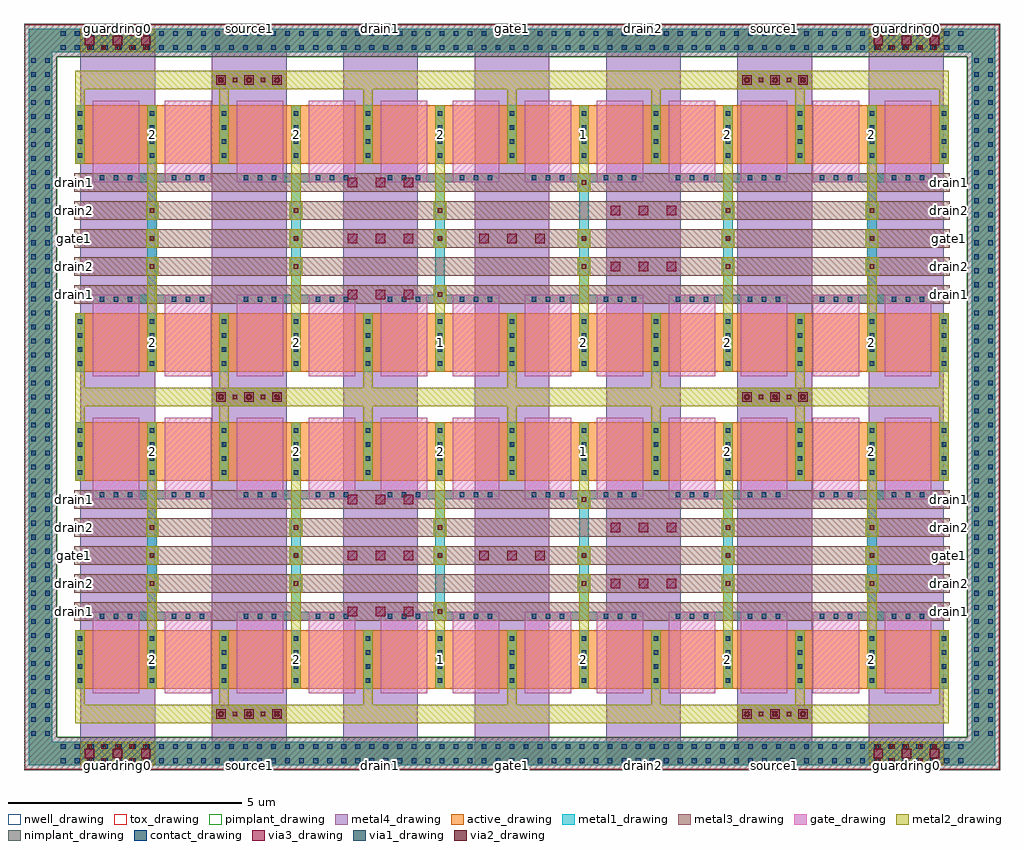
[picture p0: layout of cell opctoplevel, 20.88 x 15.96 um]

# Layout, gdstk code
import gdstk
lib = gdstk.Library(unit=1e-6, precision=1e-09)
def R(c, l, rs):  # rectangles x0, y0, x1, y1
    for r in rs: c.add(gdstk.rectangle(r[:2], r[2:], *l))
def A(c, l, x, y, w, h, nx, ny, dx, dy):  # array of equal rectangles
    R(c, l, [(x+i*dx, y+j*dy, x+i*dx+w, y+j*dy+h) for i in range(nx) for j in range(ny)])
active_drawing = (1, 0)
nwell_drawing = (3, 0)
pimplant_drawing = (4, 0)
nimplant_drawing = (5, 0)
gate_drawing = (6, 0)
contact_drawing = (7, 0)
metal1_drawing = (8, 0)
via1_drawing = (9, 0)
metal2_drawing = (10, 0)
via2_drawing = (11, 0)
metal3_drawing = (12, 0)
via3_drawing = (13, 0)
metal4_drawing = (14, 0)
tox_drawing = (32, 0)

opctoplevel = lib.new_cell('opctoplevel')
A(opctoplevel, active_drawing, -0.37, 0, 3.28, 1.25, 6, 2, 3.08, 4.45)
A(opctoplevel, active_drawing, -0.37, 6.78, 3.28, 1.25, 6, 2, 3.08, 4.45)
R(opctoplevel, active_drawing, [(-1.37,-1.64,19.31,-1.14), (-1.37,-1.64,-0.87,14.12), (18.81,-1.64,19.31,14.12), (-1.37,13.62,19.31,14.12)])
R(opctoplevel, nwell_drawing, [(-1.47,-1.74,19.41,14.22)])
R(opctoplevel, pimplant_drawing, [(-0.77,-1.04,18.71,13.52)])
R(opctoplevel, nimplant_drawing, [(-1.47,-1.74,19.41,-1.04), (-1.47,-1.74,-0.77,14.22), (18.71,-1.74,19.41,14.22), (-1.47,13.52,19.41,14.22)])
A(opctoplevel, gate_drawing, 0, -0.1, 1, 1.75, 12, 2, 1.54, 4.15)
A(opctoplevel, gate_drawing, 0, 6.68, 1, 1.75, 12, 2, 1.54, 4.15)
A(opctoplevel, contact_drawing, -0.68, -1.59, 0.1, 0.1, 65, 2, 0.3, 0.3)
A(opctoplevel, contact_drawing, -1.32, -1.01, 0.1, 0.1, 1, 49, 0, 0.3)
A(opctoplevel, contact_drawing, -1.02, -1.01, 0.1, 0.1, 1, 49, 0, 0.3)
A(opctoplevel, contact_drawing, 18.86, -1.01, 0.1, 0.1, 1, 49, 0, 0.3)
A(opctoplevel, contact_drawing, 19.16, -1.01, 0.1, 0.1, 1, 49, 0, 0.3)
A(opctoplevel, contact_drawing, -0.32, 0.125, 0.1, 0.1, 3, 4, 1.54, 0.3)
A(opctoplevel, contact_drawing, 2.76, 0.125, 0.1, 0.1, 3, 4, 1.54, 0.3)
A(opctoplevel, contact_drawing, 5.84, 0.125, 0.1, 0.1, 3, 4, 1.54, 0.3)
A(opctoplevel, contact_drawing, 8.92, 0.125, 0.1, 0.1, 3, 4, 1.54, 0.3)
A(opctoplevel, contact_drawing, 12, 0.125, 0.1, 0.1, 3, 4, 1.54, 0.3)
A(opctoplevel, contact_drawing, 15.08, 0.125, 0.1, 0.1, 3, 4, 1.54, 0.3)
A(opctoplevel, contact_drawing, 0.15, 1.5, 0.1, 0.1, 3, 2, 0.3, 2.6)
A(opctoplevel, contact_drawing, 1.69, 1.5, 0.1, 0.1, 3, 2, 0.3, 2.6)
A(opctoplevel, contact_drawing, 3.23, 1.5, 0.1, 0.1, 3, 2, 0.3, 2.6)
A(opctoplevel, contact_drawing, 4.77, 1.5, 0.1, 0.1, 3, 2, 0.3, 2.6)
A(opctoplevel, contact_drawing, 6.31, 1.5, 0.1, 0.1, 3, 2, 0.3, 2.6)
A(opctoplevel, contact_drawing, 7.85, 1.5, 0.1, 0.1, 3, 2, 0.3, 2.6)
A(opctoplevel, contact_drawing, 9.39, 1.5, 0.1, 0.1, 3, 2, 0.3, 2.6)
A(opctoplevel, contact_drawing, 10.93, 1.5, 0.1, 0.1, 3, 2, 0.3, 2.6)
A(opctoplevel, contact_drawing, 12.47, 1.5, 0.1, 0.1, 3, 2, 0.3, 2.6)
A(opctoplevel, contact_drawing, 14.01, 1.5, 0.1, 0.1, 3, 2, 0.3, 2.6)
A(opctoplevel, contact_drawing, 15.55, 1.5, 0.1, 0.1, 3, 2, 0.3, 2.6)
A(opctoplevel, contact_drawing, 17.09, 1.5, 0.1, 0.1, 3, 2, 0.3, 2.6)
A(opctoplevel, contact_drawing, -0.32, 4.575, 0.1, 0.1, 3, 4, 1.54, 0.3)
A(opctoplevel, contact_drawing, 2.76, 4.575, 0.1, 0.1, 3, 4, 1.54, 0.3)
A(opctoplevel, contact_drawing, 5.84, 4.575, 0.1, 0.1, 3, 4, 1.54, 0.3)
A(opctoplevel, contact_drawing, 8.92, 4.575, 0.1, 0.1, 3, 4, 1.54, 0.3)
A(opctoplevel, contact_drawing, 12, 4.575, 0.1, 0.1, 3, 4, 1.54, 0.3)
A(opctoplevel, contact_drawing, 15.08, 4.575, 0.1, 0.1, 3, 4, 1.54, 0.3)
A(opctoplevel, contact_drawing, -0.32, 6.905, 0.1, 0.1, 3, 4, 1.54, 0.3)
A(opctoplevel, contact_drawing, 2.76, 6.905, 0.1, 0.1, 3, 4, 1.54, 0.3)
A(opctoplevel, contact_drawing, 5.84, 6.905, 0.1, 0.1, 3, 4, 1.54, 0.3)
A(opctoplevel, contact_drawing, 8.92, 6.905, 0.1, 0.1, 3, 4, 1.54, 0.3)
A(opctoplevel, contact_drawing, 12, 6.905, 0.1, 0.1, 3, 4, 1.54, 0.3)
A(opctoplevel, contact_drawing, 15.08, 6.905, 0.1, 0.1, 3, 4, 1.54, 0.3)
A(opctoplevel, contact_drawing, 0.15, 8.28, 0.1, 0.1, 3, 2, 0.3, 2.6)
A(opctoplevel, contact_drawing, 1.69, 8.28, 0.1, 0.1, 3, 2, 0.3, 2.6)
A(opctoplevel, contact_drawing, 3.23, 8.28, 0.1, 0.1, 3, 2, 0.3, 2.6)
A(opctoplevel, contact_drawing, 4.77, 8.28, 0.1, 0.1, 3, 2, 0.3, 2.6)
A(opctoplevel, contact_drawing, 6.31, 8.28, 0.1, 0.1, 3, 2, 0.3, 2.6)
A(opctoplevel, contact_drawing, 7.85, 8.28, 0.1, 0.1, 3, 2, 0.3, 2.6)
A(opctoplevel, contact_drawing, 9.39, 8.28, 0.1, 0.1, 3, 2, 0.3, 2.6)
A(opctoplevel, contact_drawing, 10.93, 8.28, 0.1, 0.1, 3, 2, 0.3, 2.6)
A(opctoplevel, contact_drawing, 12.47, 8.28, 0.1, 0.1, 3, 2, 0.3, 2.6)
A(opctoplevel, contact_drawing, 14.01, 8.28, 0.1, 0.1, 3, 2, 0.3, 2.6)
A(opctoplevel, contact_drawing, 15.55, 8.28, 0.1, 0.1, 3, 2, 0.3, 2.6)
A(opctoplevel, contact_drawing, 17.09, 8.28, 0.1, 0.1, 3, 2, 0.3, 2.6)
A(opctoplevel, contact_drawing, -0.32, 11.355, 0.1, 0.1, 3, 4, 1.54, 0.3)
A(opctoplevel, contact_drawing, 2.76, 11.355, 0.1, 0.1, 3, 4, 1.54, 0.3)
A(opctoplevel, contact_drawing, 5.84, 11.355, 0.1, 0.1, 3, 4, 1.54, 0.3)
A(opctoplevel, contact_drawing, 8.92, 11.355, 0.1, 0.1, 3, 4, 1.54, 0.3)
A(opctoplevel, contact_drawing, 12, 11.355, 0.1, 0.1, 3, 4, 1.54, 0.3)
A(opctoplevel, contact_drawing, 15.08, 11.355, 0.1, 0.1, 3, 4, 1.54, 0.3)
A(opctoplevel, contact_drawing, -0.68, 13.67, 0.1, 0.1, 65, 2, 0.3, 0.3)
A(opctoplevel, metal1_drawing, -0.37, 0, 0.2, 1.25, 3, 2, 1.54, 4.45)
A(opctoplevel, metal1_drawing, 2.71, 0, 0.2, 1.25, 3, 2, 1.54, 4.45)
A(opctoplevel, metal1_drawing, 5.79, 0, 0.2, 1.25, 3, 2, 1.54, 4.45)
A(opctoplevel, metal1_drawing, 8.87, 0, 0.2, 1.25, 3, 2, 1.54, 4.45)
A(opctoplevel, metal1_drawing, 11.95, 0, 0.2, 1.25, 3, 2, 1.54, 4.45)
A(opctoplevel, metal1_drawing, 15.03, 0, 0.2, 1.25, 3, 2, 1.54, 4.45)
A(opctoplevel, metal1_drawing, 1.17, 1.65, 0.2, 1, 6, 2, 3.08, 1.4)
A(opctoplevel, metal1_drawing, -0.37, 6.78, 0.2, 1.25, 3, 2, 1.54, 4.45)
A(opctoplevel, metal1_drawing, 2.71, 6.78, 0.2, 1.25, 3, 2, 1.54, 4.45)
A(opctoplevel, metal1_drawing, 5.79, 6.78, 0.2, 1.25, 3, 2, 1.54, 4.45)
A(opctoplevel, metal1_drawing, 8.87, 6.78, 0.2, 1.25, 3, 2, 1.54, 4.45)
A(opctoplevel, metal1_drawing, 11.95, 6.78, 0.2, 1.25, 3, 2, 1.54, 4.45)
A(opctoplevel, metal1_drawing, 15.03, 6.78, 0.2, 1.25, 3, 2, 1.54, 4.45)
A(opctoplevel, metal1_drawing, 1.17, 8.43, 0.2, 1, 6, 2, 3.08, 1.4)
R(opctoplevel, metal1_drawing, [(-1.37,-1.64,19.31,-1.14), (-1.37,-1.64,-0.87,14.12), (-0.266,-1.64,1.334,-1.14), (16.606,-1.64,18.206,-1.14), (18.81,-1.64,19.31,14.12), (0,1.45,2.54,1.65), (0,1.45,2.54,1.65), (3.08,1.45,5.62,1.65), (3.08,1.45,5.62,1.65), (6.16,1.45,8.7,1.65), (6.16,1.45,8.7,1.65), (9.24,1.45,11.78,1.65), (9.24,1.45,11.78,1.65), (12.32,1.45,14.86,1.65), (12.32,1.45,14.86,1.65), (15.4,1.45,17.94,1.65), (15.4,1.45,17.94,1.65), (1.14,2.65,1.4,3.05), (1.14,2.65,1.4,3.05), (4.22,2.65,4.48,3.05), (4.22,2.65,4.48,3.05), (7.3,2.65,7.56,3.05), (7.3,2.65,7.56,3.05), (10.38,2.65,10.64,3.05), (10.38,2.65,10.64,3.05), (13.46,2.65,13.72,3.05), (13.46,2.65,13.72,3.05), (16.54,2.65,16.8,3.05), (16.54,2.65,16.8,3.05), (0,4.05,2.54,4.25), (0,4.05,2.54,4.25), (3.08,4.05,5.62,4.25), (3.08,4.05,5.62,4.25), (6.16,4.05,8.7,4.25), (6.16,4.05,8.7,4.25), (9.24,4.05,11.78,4.25), (9.24,4.05,11.78,4.25), (12.32,4.05,14.86,4.25), (12.32,4.05,14.86,4.25), (15.4,4.05,17.94,4.25), (15.4,4.05,17.94,4.25), (0,8.23,2.54,8.43), (0,8.23,2.54,8.43), (3.08,8.23,5.62,8.43), (3.08,8.23,5.62,8.43), (6.16,8.23,8.7,8.43), (6.16,8.23,8.7,8.43), (9.24,8.23,11.78,8.43), (9.24,8.23,11.78,8.43), (12.32,8.23,14.86,8.43), (12.32,8.23,14.86,8.43), (15.4,8.23,17.94,8.43), (15.4,8.23,17.94,8.43), (1.14,9.43,1.4,9.83), (1.14,9.43,1.4,9.83), (4.22,9.43,4.48,9.83), (4.22,9.43,4.48,9.83), (7.3,9.43,7.56,9.83), (7.3,9.43,7.56,9.83), (10.38,9.43,10.64,9.83), (10.38,9.43,10.64,9.83), (13.46,9.43,13.72,9.83), (13.46,9.43,13.72,9.83), (16.54,9.43,16.8,9.83), (16.54,9.43,16.8,9.83), (0,10.83,2.54,11.03), (0,10.83,2.54,11.03), (3.08,10.83,5.62,11.03), (3.08,10.83,5.62,11.03), (6.16,10.83,8.7,11.03), (6.16,10.83,8.7,11.03), (9.24,10.83,11.78,11.03), (9.24,10.83,11.78,11.03), (12.32,10.83,14.86,11.03), (12.32,10.83,14.86,11.03), (15.4,10.83,17.94,11.03), (15.4,10.83,17.94,11.03), (-1.37,13.62,19.31,14.12), (-0.266,13.62,1.334,14.12), (16.606,13.62,18.206,14.12)])
A(opctoplevel, via1_drawing, -0.116, -1.59, 0.1, 0.1, 5, 2, 0.3, 0.3)
A(opctoplevel, via1_drawing, 16.756, -1.59, 0.1, 0.1, 5, 2, 0.3, 0.3)
A(opctoplevel, via1_drawing, -0.32, 0.125, 0.1, 0.1, 3, 4, 1.54, 0.3)
A(opctoplevel, via1_drawing, 2.76, 0.125, 0.1, 0.1, 3, 4, 1.54, 0.3)
A(opctoplevel, via1_drawing, 5.84, 0.125, 0.1, 0.1, 3, 4, 1.54, 0.3)
A(opctoplevel, via1_drawing, 8.92, 0.125, 0.1, 0.1, 3, 4, 1.54, 0.3)
A(opctoplevel, via1_drawing, 12, 0.125, 0.1, 0.1, 3, 4, 1.54, 0.3)
A(opctoplevel, via1_drawing, 15.08, 0.125, 0.1, 0.1, 3, 4, 1.54, 0.3)
A(opctoplevel, via1_drawing, -0.32, 4.575, 0.1, 0.1, 3, 4, 1.54, 0.3)
A(opctoplevel, via1_drawing, 2.76, 4.575, 0.1, 0.1, 3, 4, 1.54, 0.3)
A(opctoplevel, via1_drawing, 5.84, 4.575, 0.1, 0.1, 3, 4, 1.54, 0.3)
A(opctoplevel, via1_drawing, 8.92, 4.575, 0.1, 0.1, 3, 4, 1.54, 0.3)
A(opctoplevel, via1_drawing, 12, 4.575, 0.1, 0.1, 3, 4, 1.54, 0.3)
A(opctoplevel, via1_drawing, 15.08, 4.575, 0.1, 0.1, 3, 4, 1.54, 0.3)
A(opctoplevel, via1_drawing, -0.32, 6.905, 0.1, 0.1, 3, 4, 1.54, 0.3)
A(opctoplevel, via1_drawing, 2.76, 6.905, 0.1, 0.1, 3, 4, 1.54, 0.3)
A(opctoplevel, via1_drawing, 5.84, 6.905, 0.1, 0.1, 3, 4, 1.54, 0.3)
A(opctoplevel, via1_drawing, 8.92, 6.905, 0.1, 0.1, 3, 4, 1.54, 0.3)
A(opctoplevel, via1_drawing, 12, 6.905, 0.1, 0.1, 3, 4, 1.54, 0.3)
A(opctoplevel, via1_drawing, 15.08, 6.905, 0.1, 0.1, 3, 4, 1.54, 0.3)
A(opctoplevel, via1_drawing, -0.32, 11.355, 0.1, 0.1, 3, 4, 1.54, 0.3)
A(opctoplevel, via1_drawing, 2.76, 11.355, 0.1, 0.1, 3, 4, 1.54, 0.3)
A(opctoplevel, via1_drawing, 5.84, 11.355, 0.1, 0.1, 3, 4, 1.54, 0.3)
A(opctoplevel, via1_drawing, 8.92, 11.355, 0.1, 0.1, 3, 4, 1.54, 0.3)
A(opctoplevel, via1_drawing, 12, 11.355, 0.1, 0.1, 3, 4, 1.54, 0.3)
A(opctoplevel, via1_drawing, 15.08, 11.355, 0.1, 0.1, 3, 4, 1.54, 0.3)
A(opctoplevel, via1_drawing, -0.116, 13.67, 0.1, 0.1, 5, 2, 0.3, 0.3)
A(opctoplevel, via1_drawing, 16.756, 13.67, 0.1, 0.1, 5, 2, 0.3, 0.3)
R(opctoplevel, via1_drawing, [(1.22,2.8,1.32,2.9), (1.22,2.8,1.32,2.9), (4.3,2.8,4.4,2.9), (4.3,2.8,4.4,2.9), (7.38,2.8,7.48,2.9), (7.38,2.8,7.48,2.9), (10.46,2.8,10.56,2.9), (10.46,2.8,10.56,2.9), (13.54,2.8,13.64,2.9), (13.54,2.8,13.64,2.9), (16.62,2.8,16.72,2.9), (16.62,2.8,16.72,2.9), (1.22,9.58,1.32,9.68), (1.22,9.58,1.32,9.68), (4.3,9.58,4.4,9.68), (4.3,9.58,4.4,9.68), (7.38,9.58,7.48,9.68), (7.38,9.58,7.48,9.68), (10.46,9.58,10.56,9.68), (10.46,9.58,10.56,9.68), (13.54,9.58,13.64,9.68), (13.54,9.58,13.64,9.68), (16.62,9.58,16.72,9.68), (16.62,9.58,16.72,9.68)])
A(opctoplevel, metal2_drawing, -0.37, -0.74, 3.28, 0.4, 6, 2, 3.08, 13.56)
A(opctoplevel, metal2_drawing, -0.37, 0, 0.2, 1.25, 3, 2, 1.54, 4.45)
A(opctoplevel, metal2_drawing, 2.71, 0, 0.2, 1.25, 3, 2, 1.54, 4.45)
A(opctoplevel, metal2_drawing, 5.79, 0, 0.2, 1.25, 3, 2, 1.54, 4.45)
A(opctoplevel, metal2_drawing, 8.87, 0, 0.2, 1.25, 3, 2, 1.54, 4.45)
A(opctoplevel, metal2_drawing, 11.95, 0, 0.2, 1.25, 3, 2, 1.54, 4.45)
A(opctoplevel, metal2_drawing, 15.03, 0, 0.2, 1.25, 3, 2, 1.54, 4.45)
A(opctoplevel, metal2_drawing, 10.41, 1.25, 0.2, 1.2, 3, 2, 3.08, 6.78)
A(opctoplevel, metal2_drawing, 10.38, 2.05, 0.26, 0.4, 3, 2, 3.08, 6.78)
A(opctoplevel, metal2_drawing, 1.14, 3.25, 0.26, 0.4, 3, 2, 3.08, 6.78)
A(opctoplevel, metal2_drawing, 1.17, 3.25, 0.2, 1.2, 3, 2, 3.08, 6.78)
A(opctoplevel, metal2_drawing, -0.37, 6.78, 0.2, 1.25, 3, 2, 1.54, 4.45)
A(opctoplevel, metal2_drawing, 2.71, 6.78, 0.2, 1.25, 3, 2, 1.54, 4.45)
A(opctoplevel, metal2_drawing, 5.79, 6.78, 0.2, 1.25, 3, 2, 1.54, 4.45)
A(opctoplevel, metal2_drawing, 8.87, 6.78, 0.2, 1.25, 3, 2, 1.54, 4.45)
A(opctoplevel, metal2_drawing, 11.95, 6.78, 0.2, 1.25, 3, 2, 1.54, 4.45)
A(opctoplevel, metal2_drawing, 15.03, 6.78, 0.2, 1.25, 3, 2, 1.54, 4.45)
R(opctoplevel, metal2_drawing, [(-0.266,-1.64,1.334,-1.14), (16.606,-1.64,18.206,-1.14), (2.546,-0.74,4.146,-0.34), (13.794,-0.74,15.394,-0.34), (-0.37,-0.34,-0.17,0), (2.71,-0.34,2.91,0), (2.71,-0.34,2.91,0), (5.79,-0.34,5.99,0), (5.79,-0.34,5.99,0), (8.87,-0.34,9.07,0), (8.87,-0.34,9.07,0), (11.95,-0.34,12.15,0), (11.95,-0.34,12.15,0), (15.03,-0.34,15.23,0), (15.03,-0.34,15.23,0), (18.11,-0.34,18.31,0), (1.17,1.25,1.37,2.45), (4.25,1.25,4.45,2.45), (7.33,1.25,7.53,1.85), (7.3,1.45,7.56,1.85), (1.14,2.05,1.4,2.45), (4.22,2.05,4.48,2.45), (1.14,2.65,1.4,3.05), (1.14,2.65,1.4,3.05), (4.22,2.65,4.48,3.05), (4.22,2.65,4.48,3.05), (7.3,2.65,7.56,3.05), (7.3,2.65,7.56,3.05), (10.38,2.65,10.64,3.05), (10.38,2.65,10.64,3.05), (13.46,2.65,13.72,3.05), (13.46,2.65,13.72,3.05), (16.54,2.65,16.8,3.05), (16.54,2.65,16.8,3.05), (13.46,3.25,13.72,3.65), (13.49,3.25,13.69,4.45), (16.54,3.25,16.8,3.65), (16.57,3.25,16.77,4.45), (10.38,3.85,10.64,4.25), (10.41,3.85,10.61,4.45), (-0.37,5.7,-0.17,6.04), (2.71,5.7,2.91,6.04), (2.71,5.7,2.91,6.04), (5.79,5.7,5.99,6.04), (5.79,5.7,5.99,6.04), (8.87,5.7,9.07,6.04), (8.87,5.7,9.07,6.04), (11.95,5.7,12.15,6.04), (11.95,5.7,12.15,6.04), (15.03,5.7,15.23,6.04), (15.03,5.7,15.23,6.04), (18.11,5.7,18.31,6.04), (-0.37,6.04,2.91,6.44), (-0.37,6.04,2.91,6.44), (2.546,6.04,4.146,6.44), (2.546,6.04,4.146,6.44), (2.71,6.04,5.99,6.44), (2.71,6.04,5.99,6.44), (5.79,6.04,9.07,6.44), (5.79,6.04,9.07,6.44), (8.87,6.04,12.15,6.44), (8.87,6.04,12.15,6.44), (11.95,6.04,15.23,6.44), (11.95,6.04,15.23,6.44), (13.794,6.04,15.394,6.44), (13.794,6.04,15.394,6.44), (15.03,6.04,18.31,6.44), (15.03,6.04,18.31,6.44), (-0.37,6.44,-0.17,6.78), (2.71,6.44,2.91,6.78), (2.71,6.44,2.91,6.78), (5.79,6.44,5.99,6.78), (5.79,6.44,5.99,6.78), (8.87,6.44,9.07,6.78), (8.87,6.44,9.07,6.78), (11.95,6.44,12.15,6.78), (11.95,6.44,12.15,6.78), (15.03,6.44,15.23,6.78), (15.03,6.44,15.23,6.78), (18.11,6.44,18.31,6.78), (1.17,8.03,1.37,9.23), (4.25,8.03,4.45,9.23), (7.33,8.03,7.53,8.63), (7.3,8.23,7.56,8.63), (1.14,8.83,1.4,9.23), (4.22,8.83,4.48,9.23), (1.14,9.43,1.4,9.83), (1.14,9.43,1.4,9.83), (4.22,9.43,4.48,9.83), (4.22,9.43,4.48,9.83), (7.3,9.43,7.56,9.83), (7.3,9.43,7.56,9.83), (10.38,9.43,10.64,9.83), (10.38,9.43,10.64,9.83), (13.46,9.43,13.72,9.83), (13.46,9.43,13.72,9.83), (16.54,9.43,16.8,9.83), (16.54,9.43,16.8,9.83), (13.46,10.03,13.72,10.43), (13.49,10.03,13.69,11.23), (16.54,10.03,16.8,10.43), (16.57,10.03,16.77,11.23), (10.38,10.63,10.64,11.03), (10.41,10.63,10.61,11.23), (-0.37,12.48,-0.17,12.82), (2.71,12.48,2.91,12.82), (2.71,12.48,2.91,12.82), (5.79,12.48,5.99,12.82), (5.79,12.48,5.99,12.82), (8.87,12.48,9.07,12.82), (8.87,12.48,9.07,12.82), (11.95,12.48,12.15,12.82), (11.95,12.48,12.15,12.82), (15.03,12.48,15.23,12.82), (15.03,12.48,15.23,12.82), (18.11,12.48,18.31,12.82), (2.546,12.82,4.146,13.22), (13.794,12.82,15.394,13.22), (-0.266,13.62,1.334,14.12), (16.606,13.62,18.206,14.12)])
A(opctoplevel, via2_drawing, -0.116, -1.59, 0.1, 0.1, 5, 2, 0.3, 0.3)
A(opctoplevel, via2_drawing, 16.756, -1.59, 0.1, 0.1, 5, 2, 0.3, 0.3)
A(opctoplevel, via2_drawing, 2.696, -0.59, 0.1, 0.1, 5, 2, 0.3, 13.56)
A(opctoplevel, via2_drawing, 13.944, -0.59, 0.1, 0.1, 5, 2, 0.3, 13.56)
A(opctoplevel, via2_drawing, 10.46, 2.2, 0.1, 0.1, 3, 2, 3.08, 6.78)
A(opctoplevel, via2_drawing, 1.22, 3.4, 0.1, 0.1, 3, 2, 3.08, 6.78)
A(opctoplevel, via2_drawing, -0.116, 13.67, 0.1, 0.1, 5, 2, 0.3, 0.3)
A(opctoplevel, via2_drawing, 16.756, 13.67, 0.1, 0.1, 5, 2, 0.3, 0.3)
R(opctoplevel, via2_drawing, [(7.38,1.6,7.48,1.7), (1.22,2.2,1.32,2.3), (4.3,2.2,4.4,2.3), (1.22,2.8,1.32,2.9), (1.22,2.8,1.32,2.9), (4.3,2.8,4.4,2.9), (4.3,2.8,4.4,2.9), (7.38,2.8,7.48,2.9), (7.38,2.8,7.48,2.9), (10.46,2.8,10.56,2.9), (10.46,2.8,10.56,2.9), (13.54,2.8,13.64,2.9), (13.54,2.8,13.64,2.9), (16.62,2.8,16.72,2.9), (16.62,2.8,16.72,2.9), (13.54,3.4,13.64,3.5), (16.62,3.4,16.72,3.5), (10.46,4,10.56,4.1), (2.696,6.19,2.796,6.29), (2.696,6.19,2.796,6.29), (2.996,6.19,3.096,6.29), (2.996,6.19,3.096,6.29), (3.296,6.19,3.396,6.29), (3.296,6.19,3.396,6.29), (3.596,6.19,3.696,6.29), (3.596,6.19,3.696,6.29), (3.896,6.19,3.996,6.29), (3.896,6.19,3.996,6.29), (13.944,6.19,14.044,6.29), (13.944,6.19,14.044,6.29), (14.244,6.19,14.344,6.29), (14.244,6.19,14.344,6.29), (14.544,6.19,14.644,6.29), (14.544,6.19,14.644,6.29), (14.844,6.19,14.944,6.29), (14.844,6.19,14.944,6.29), (15.144,6.19,15.244,6.29), (15.144,6.19,15.244,6.29), (7.38,8.38,7.48,8.48), (1.22,8.98,1.32,9.08), (4.3,8.98,4.4,9.08), (1.22,9.58,1.32,9.68), (1.22,9.58,1.32,9.68), (4.3,9.58,4.4,9.68), (4.3,9.58,4.4,9.68), (7.38,9.58,7.48,9.68), (7.38,9.58,7.48,9.68), (10.46,9.58,10.56,9.68), (10.46,9.58,10.56,9.68), (13.54,9.58,13.64,9.68), (13.54,9.58,13.64,9.68), (16.62,9.58,16.72,9.68), (16.62,9.58,16.72,9.68), (13.54,10.18,13.64,10.28), (16.62,10.18,16.72,10.28), (10.46,10.78,10.56,10.88)])
A(opctoplevel, metal3_drawing, -0.4, 1.45, 18.74, 0.4, 1, 5, 0, 0.6)
A(opctoplevel, metal3_drawing, 10.38, 2.05, 0.26, 0.4, 3, 2, 3.08, 6.78)
A(opctoplevel, metal3_drawing, 1.14, 3.25, 0.26, 0.4, 3, 2, 3.08, 6.78)
A(opctoplevel, metal3_drawing, -0.4, 8.23, 18.74, 0.4, 1, 5, 0, 0.6)
R(opctoplevel, metal3_drawing, [(-0.266,-1.64,1.334,-1.14), (16.606,-1.64,18.206,-1.14), (2.546,-0.74,4.146,-0.34), (13.794,-0.74,15.394,-0.34), (7.3,1.45,7.56,1.85), (1.14,2.05,1.4,2.45), (4.22,2.05,4.48,2.45), (1.14,2.65,1.4,3.05), (1.14,2.65,1.4,3.05), (4.22,2.65,4.48,3.05), (4.22,2.65,4.48,3.05), (7.3,2.65,7.56,3.05), (7.3,2.65,7.56,3.05), (10.38,2.65,10.64,3.05), (10.38,2.65,10.64,3.05), (13.46,2.65,13.72,3.05), (13.46,2.65,13.72,3.05), (16.54,2.65,16.8,3.05), (16.54,2.65,16.8,3.05), (13.46,3.25,13.72,3.65), (16.54,3.25,16.8,3.65), (10.38,3.85,10.64,4.25), (2.546,6.04,4.146,6.44), (2.546,6.04,4.146,6.44), (13.794,6.04,15.394,6.44), (13.794,6.04,15.394,6.44), (7.3,8.23,7.56,8.63), (1.14,8.83,1.4,9.23), (4.22,8.83,4.48,9.23), (1.14,9.43,1.4,9.83), (1.14,9.43,1.4,9.83), (4.22,9.43,4.48,9.83), (4.22,9.43,4.48,9.83), (7.3,9.43,7.56,9.83), (7.3,9.43,7.56,9.83), (10.38,9.43,10.64,9.83), (10.38,9.43,10.64,9.83), (13.46,9.43,13.72,9.83), (13.46,9.43,13.72,9.83), (16.54,9.43,16.8,9.83), (16.54,9.43,16.8,9.83), (13.46,10.03,13.72,10.43), (16.54,10.03,16.8,10.43), (10.38,10.63,10.64,11.03), (2.546,12.82,4.146,13.22), (13.794,12.82,15.394,13.22), (-0.266,13.62,1.334,14.12), (16.606,13.62,18.206,14.12)])
A(opctoplevel, via3_drawing, -0.166, -1.49, 0.2, 0.2, 3, 2, 0.6, 15.26)
A(opctoplevel, via3_drawing, 16.706, -1.49, 0.2, 0.2, 3, 2, 0.6, 15.26)
A(opctoplevel, via3_drawing, 2.646, -0.64, 0.2, 0.2, 3, 2, 0.6, 13.56)
A(opctoplevel, via3_drawing, 13.894, -0.64, 0.2, 0.2, 3, 2, 0.6, 13.56)
A(opctoplevel, via3_drawing, 5.458, 1.55, 0.2, 0.2, 3, 2, 0.6, 2.4)
A(opctoplevel, via3_drawing, 11.082, 2.15, 0.2, 0.2, 3, 2, 0.6, 1.2)
A(opctoplevel, via3_drawing, 5.458, 8.33, 0.2, 0.2, 3, 2, 0.6, 2.4)
A(opctoplevel, via3_drawing, 11.082, 8.93, 0.2, 0.2, 3, 2, 0.6, 1.2)
R(opctoplevel, via3_drawing, [(5.458,2.75,5.658,2.95), (5.458,2.75,5.658,2.95), (5.458,2.75,5.658,2.95), (5.458,2.75,5.658,2.95), (5.458,2.75,5.658,2.95), (5.458,2.75,5.658,2.95), (5.458,2.75,5.658,2.95), (5.458,2.75,5.658,2.95), (5.458,2.75,5.658,2.95), (5.458,2.75,5.658,2.95), (5.458,2.75,5.658,2.95), (5.458,2.75,5.658,2.95), (6.058,2.75,6.258,2.95), (6.058,2.75,6.258,2.95), (6.058,2.75,6.258,2.95), (6.058,2.75,6.258,2.95), (6.058,2.75,6.258,2.95), (6.058,2.75,6.258,2.95), (6.058,2.75,6.258,2.95), (6.058,2.75,6.258,2.95), (6.058,2.75,6.258,2.95), (6.058,2.75,6.258,2.95), (6.058,2.75,6.258,2.95), (6.058,2.75,6.258,2.95), (6.658,2.75,6.858,2.95), (6.658,2.75,6.858,2.95), (6.658,2.75,6.858,2.95), (6.658,2.75,6.858,2.95), (6.658,2.75,6.858,2.95), (6.658,2.75,6.858,2.95), (6.658,2.75,6.858,2.95), (6.658,2.75,6.858,2.95), (6.658,2.75,6.858,2.95), (6.658,2.75,6.858,2.95), (6.658,2.75,6.858,2.95), (6.658,2.75,6.858,2.95), (8.27,2.75,8.47,2.95), (8.27,2.75,8.47,2.95), (8.87,2.75,9.07,2.95), (8.87,2.75,9.07,2.95), (9.47,2.75,9.67,2.95), (9.47,2.75,9.67,2.95), (2.646,6.14,2.846,6.34), (2.646,6.14,2.846,6.34), (3.246,6.14,3.446,6.34), (3.246,6.14,3.446,6.34), (3.846,6.14,4.046,6.34), (3.846,6.14,4.046,6.34), (13.894,6.14,14.094,6.34), (13.894,6.14,14.094,6.34), (14.494,6.14,14.694,6.34), (14.494,6.14,14.694,6.34), (15.094,6.14,15.294,6.34), (15.094,6.14,15.294,6.34), (5.458,9.53,5.658,9.73), (5.458,9.53,5.658,9.73), (5.458,9.53,5.658,9.73), (5.458,9.53,5.658,9.73), (5.458,9.53,5.658,9.73), (5.458,9.53,5.658,9.73), (5.458,9.53,5.658,9.73), (5.458,9.53,5.658,9.73), (5.458,9.53,5.658,9.73), (5.458,9.53,5.658,9.73), (5.458,9.53,5.658,9.73), (5.458,9.53,5.658,9.73), (6.058,9.53,6.258,9.73), (6.058,9.53,6.258,9.73), (6.058,9.53,6.258,9.73), (6.058,9.53,6.258,9.73), (6.058,9.53,6.258,9.73), (6.058,9.53,6.258,9.73), (6.058,9.53,6.258,9.73), (6.058,9.53,6.258,9.73), (6.058,9.53,6.258,9.73), (6.058,9.53,6.258,9.73), (6.058,9.53,6.258,9.73), (6.058,9.53,6.258,9.73), (6.658,9.53,6.858,9.73), (6.658,9.53,6.858,9.73), (6.658,9.53,6.858,9.73), (6.658,9.53,6.858,9.73), (6.658,9.53,6.858,9.73), (6.658,9.53,6.858,9.73), (6.658,9.53,6.858,9.73), (6.658,9.53,6.858,9.73), (6.658,9.53,6.858,9.73), (6.658,9.53,6.858,9.73), (6.658,9.53,6.858,9.73), (6.658,9.53,6.858,9.73), (8.27,9.53,8.47,9.73), (8.27,9.53,8.47,9.73), (8.87,9.53,9.07,9.73), (8.87,9.53,9.07,9.73), (9.47,9.53,9.67,9.73), (9.47,9.53,9.67,9.73)])
A(opctoplevel, metal4_drawing, -0.266, -1.64, 1.6, 15.76, 7, 1, 2.812, 0)
R(opctoplevel, metal4_drawing, [(-0.266,-1.64,1.334,-1.14), (16.606,-1.64,18.206,-1.14), (2.546,-0.74,4.146,-0.34), (13.794,-0.74,15.394,-0.34), (2.546,6.04,4.146,6.44), (2.546,6.04,4.146,6.44), (13.794,6.04,15.394,6.44), (13.794,6.04,15.394,6.44), (2.546,12.82,4.146,13.22), (13.794,12.82,15.394,13.22), (-0.266,13.62,1.334,14.12), (16.606,13.62,18.206,14.12)])
R(opctoplevel, tox_drawing, [(-1.45,-1.72,19.39,14.2)])
opctoplevel.add(gdstk.Label('2', (1.27,0.625), layer=234, texttype=0))
opctoplevel.add(gdstk.Label('2', (4.35,0.625), layer=234, texttype=0))
opctoplevel.add(gdstk.Label('1', (7.43,0.625), layer=234, texttype=0))
opctoplevel.add(gdstk.Label('2', (10.51,0.625), layer=234, texttype=0))
opctoplevel.add(gdstk.Label('2', (13.59,0.625), layer=234, texttype=0))
opctoplevel.add(gdstk.Label('2', (16.67,0.625), layer=234, texttype=0))
opctoplevel.add(gdstk.Label('2', (1.27,5.075), layer=234, texttype=0))
opctoplevel.add(gdstk.Label('2', (4.35,5.075), layer=234, texttype=0))
opctoplevel.add(gdstk.Label('2', (7.43,5.075), layer=234, texttype=0))
opctoplevel.add(gdstk.Label('1', (10.51,5.075), layer=234, texttype=0))
opctoplevel.add(gdstk.Label('2', (13.59,5.075), layer=234, texttype=0))
opctoplevel.add(gdstk.Label('2', (16.67,5.075), layer=234, texttype=0))
opctoplevel.add(gdstk.Label('2', (1.27,7.405), layer=234, texttype=0))
opctoplevel.add(gdstk.Label('2', (4.35,7.405), layer=234, texttype=0))
opctoplevel.add(gdstk.Label('1', (7.43,7.405), layer=234, texttype=0))
opctoplevel.add(gdstk.Label('2', (10.51,7.405), layer=234, texttype=0))
opctoplevel.add(gdstk.Label('2', (13.59,7.405), layer=234, texttype=0))
opctoplevel.add(gdstk.Label('2', (16.67,7.405), layer=234, texttype=0))
opctoplevel.add(gdstk.Label('2', (1.27,11.855), layer=234, texttype=0))
opctoplevel.add(gdstk.Label('2', (4.35,11.855), layer=234, texttype=0))
opctoplevel.add(gdstk.Label('2', (7.43,11.855), layer=234, texttype=0))
opctoplevel.add(gdstk.Label('1', (10.51,11.855), layer=234, texttype=0))
opctoplevel.add(gdstk.Label('2', (13.59,11.855), layer=234, texttype=0))
opctoplevel.add(gdstk.Label('2', (16.67,11.855), layer=234, texttype=0))
opctoplevel.add(gdstk.Label('gate1', (-0.4,2.85), layer=12, texttype=0))
opctoplevel.add(gdstk.Label('gate1', (18.34,2.85), layer=12, texttype=0))
opctoplevel.add(gdstk.Label('gate1', (-0.4,9.63), layer=12, texttype=0))
opctoplevel.add(gdstk.Label('gate1', (18.34,9.63), layer=12, texttype=0))
opctoplevel.add(gdstk.Label('drain1', (-0.4,1.65), layer=12, texttype=0))
opctoplevel.add(gdstk.Label('drain1', (18.34,1.65), layer=12, texttype=0))
opctoplevel.add(gdstk.Label('drain2', (-0.4,2.25), layer=12, texttype=0))
opctoplevel.add(gdstk.Label('drain2', (18.34,2.25), layer=12, texttype=0))
opctoplevel.add(gdstk.Label('drain1', (-0.4,4.05), layer=12, texttype=0))
opctoplevel.add(gdstk.Label('drain1', (18.34,4.05), layer=12, texttype=0))
opctoplevel.add(gdstk.Label('drain2', (-0.4,3.45), layer=12, texttype=0))
opctoplevel.add(gdstk.Label('drain2', (18.34,3.45), layer=12, texttype=0))
opctoplevel.add(gdstk.Label('drain1', (-0.4,8.43), layer=12, texttype=0))
opctoplevel.add(gdstk.Label('drain1', (18.34,8.43), layer=12, texttype=0))
opctoplevel.add(gdstk.Label('drain2', (-0.4,9.03), layer=12, texttype=0))
opctoplevel.add(gdstk.Label('drain2', (18.34,9.03), layer=12, texttype=0))
opctoplevel.add(gdstk.Label('drain1', (-0.4,10.83), layer=12, texttype=0))
opctoplevel.add(gdstk.Label('drain1', (18.34,10.83), layer=12, texttype=0))
opctoplevel.add(gdstk.Label('drain2', (-0.4,10.23), layer=12, texttype=0))
opctoplevel.add(gdstk.Label('drain2', (18.34,10.23), layer=12, texttype=0))
opctoplevel.add(gdstk.Label('guardring0', (0.534,-1.64), layer=14, texttype=0))
opctoplevel.add(gdstk.Label('guardring0', (0.534,14.12), layer=14, texttype=0))
opctoplevel.add(gdstk.Label('source1', (3.346,-1.64), layer=14, texttype=0))
opctoplevel.add(gdstk.Label('source1', (3.346,14.12), layer=14, texttype=0))
opctoplevel.add(gdstk.Label('drain1', (6.158,-1.64), layer=14, texttype=0))
opctoplevel.add(gdstk.Label('drain1', (6.158,14.12), layer=14, texttype=0))
opctoplevel.add(gdstk.Label('gate1', (8.97,-1.64), layer=14, texttype=0))
opctoplevel.add(gdstk.Label('gate1', (8.97,14.12), layer=14, texttype=0))
opctoplevel.add(gdstk.Label('drain2', (11.782,-1.64), layer=14, texttype=0))
opctoplevel.add(gdstk.Label('drain2', (11.782,14.12), layer=14, texttype=0))
opctoplevel.add(gdstk.Label('source1', (14.594,-1.64), layer=14, texttype=0))
opctoplevel.add(gdstk.Label('source1', (14.594,14.12), layer=14, texttype=0))
opctoplevel.add(gdstk.Label('guardring0', (17.406,-1.64), layer=14, texttype=0))
opctoplevel.add(gdstk.Label('guardring0', (17.406,14.12), layer=14, texttype=0))

lib.write_gds('opctoplevel.gds')
